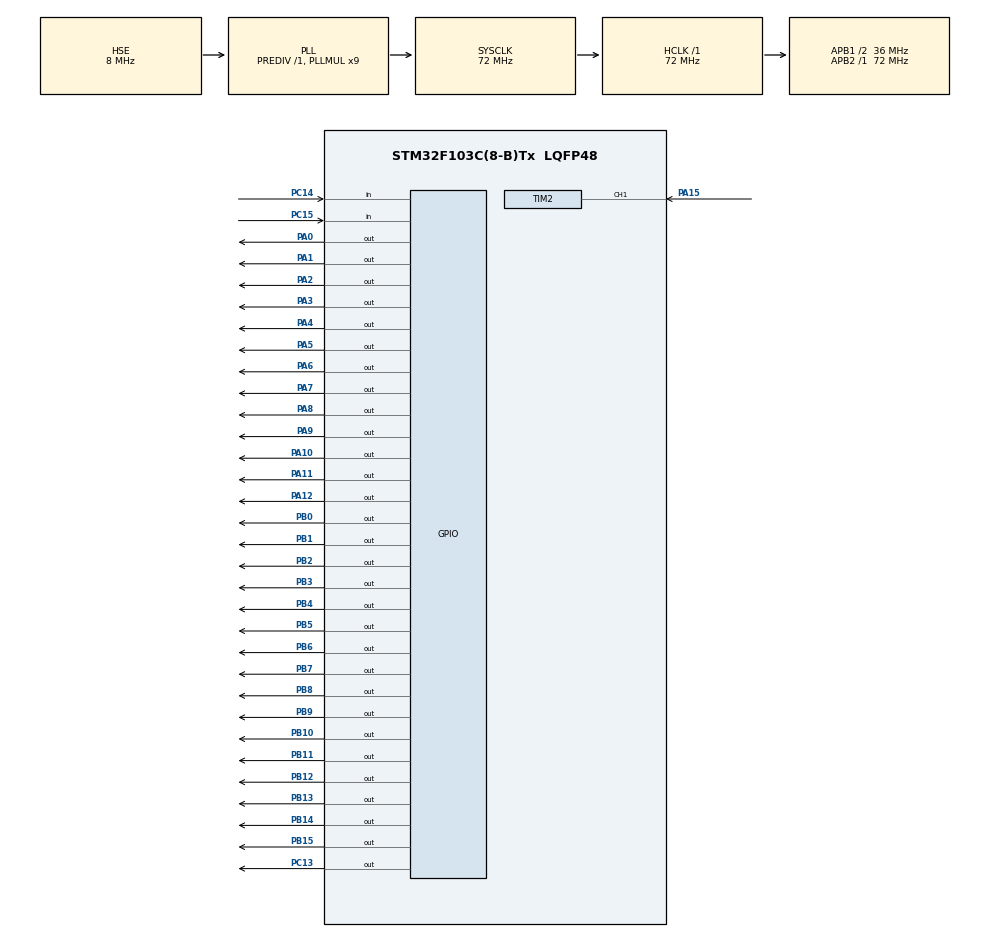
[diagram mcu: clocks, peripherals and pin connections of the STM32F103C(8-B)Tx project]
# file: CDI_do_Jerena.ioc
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Mcu.Family=STM32F1
Mcu.Name=STM32F103C(8-B)Tx
Mcu.Package=LQFP48
NVIC.FLASH_IRQn=true\:0\:0\:false\:false\:true\:true\:true
NVIC.PVD_IRQn=true\:0\:0\:false\:false\:true\:true\:true
NVIC.PriorityGroup=NVIC_PRIORITYGROUP_3
NVIC.RCC_IRQn=true\:0\:0\:false\:false\:true\:true\:false
NVIC.TIM2_IRQn=true\:0\:0\:true\:false\:true\:true\:true
NVIC.TIM4_IRQn=true\:1\:0\:true\:false\:true\:true\:true
PA0-WKUP.Signal=GPIO_Output
PA1.Signal=GPIO_Output
PA10.Signal=GPIO_Output
PA11.Signal=GPIO_Output
PA12.Signal=GPIO_Output
PA13.Mode=Serial_Wire
PA13.Signal=SYS_JTMS-SWDIO
PA14.Mode=Serial_Wire
PA14.Signal=SYS_JTCK-SWCLK
PA15.GPIO_PuPd=GPIO_NOPULL
PA15.Signal=S_TIM2_CH1_ETR
PA2.GPIO_Speed=GPIO_SPEED_FREQ_HIGH
PA2.Signal=GPIO_Output
PA3.Signal=GPIO_Output
PA4.Signal=GPIO_Output
PA5.Signal=GPIO_Output
PA6.GPIO_Speed=GPIO_SPEED_FREQ_HIGH
PA6.Signal=GPIO_Output
PA7.Signal=GPIO_Output
PA8.Signal=GPIO_Output
PA9.Signal=GPIO_Output
PB0.GPIO_Speed=GPIO_SPEED_FREQ_HIGH
PB0.Signal=GPIO_Output
PB1.GPIO_ModeDefaultOutputPP=GPIO_MODE_OUTPUT_PP
PB1.GPIO_PuPd=GPIO_NOPULL
PB1.GPIO_Speed=GPIO_SPEED_FREQ_HIGH
PB1.Signal=GPIO_Output
PB10.Signal=GPIO_Output
PB11.Signal=GPIO_Output
PB12.Signal=GPIO_Output
PB13.Signal=GPIO_Output
PB14.Signal=GPIO_Output
PB15.Signal=GPIO_Output
PB2.Signal=GPIO_Output
PB3.Signal=GPIO_Output
PB4.Signal=GPIO_Output
PB5.Signal=GPIO_Output
PB6.Signal=GPIO_Output
PB7.Signal=GPIO_Output
PB8.Signal=GPIO_Output
PB9.Signal=GPIO_Output
PC13-TAMPER-RTC.GPIO_ModeDefaultOutputPP=GPIO_MODE_OUTPUT_PP
PC13-TAMPER-RTC.GPIO_PuPd=GPIO_NOPULL
PC13-TAMPER-RTC.GPIO_Speed=GPIO_SPEED_FREQ_HIGH
PC13-TAMPER-RTC.PinState=GPIO_PIN_RESET
PC13-TAMPER-RTC.Signal=GPIO_Output
PC14-OSC32_IN.Signal=GPIO_Input
PC15-OSC32_OUT.Signal=GPIO_Input
PD0-OSC_IN.Mode=HSE-External-Oscillator
PD0-OSC_IN.Signal=RCC_OSC_IN
PD1-OSC_OUT.Mode=HSE-External-Oscillator
PD1-OSC_OUT.Signal=RCC_OSC_OUT
ProjectManager.HeapSize=0x200
ProjectManager.StackSize=0x400
ProjectManager.TargetToolchain=MDK-ARM V5.27
RCC.ADCPresc=RCC_ADCPCLK2_DIV6
RCC.AHBFreq_Value=72000000
RCC.APB1CLKDivider=RCC_HCLK_DIV2
RCC.APB1Freq_Value=36000000
RCC.APB1TimFreq_Value=72000000
RCC.APB2Freq_Value=72000000
RCC.APB2TimFreq_Value=72000000
RCC.HCLKFreq_Value=72000000
RCC.PLLMUL=RCC_PLL_MUL9
RCC.PLLSourceVirtual=RCC_PLLSOURCE_HSE
RCC.SYSCLKFreq_VALUE=72000000
RCC.SYSCLKSource=RCC_SYSCLKSOURCE_PLLCLK
RCC.USBFreq_Value=72000000
SH.S_TIM2_CH1_ETR.0=TIM2_CH1,Input_Capture1_from_TI1
SH.S_TIM2_CH1_ETR.1=TIM2_CH1,Input_Capture2_from_TI1
TIM2.AutoReloadPreload=TIM_AUTORELOAD_PRELOAD_DISABLE
TIM2.Channel-Input_Capture1_from_TI1=TIM_CHANNEL_1
TIM2.Channel-Input_Capture2_from_TI1=TIM_CHANNEL_2
TIM2.Channel-Output\ Compare3\ No\ Output=TIM_CHANNEL_3
TIM2.Channel-Output\ Compare4\ No\ Output=TIM_CHANNEL_4
TIM2.ClockDivision=TIM_CLOCKDIVISION_DIV1
TIM2.CounterMode=TIM_COUNTERMODE_UP
TIM2.ICFilter_CH1=3
TIM2.ICPolarity_CH2=TIM_INPUTCHANNELPOLARITY_FALLING
TIM2.OC3Preload=DISABLE
TIM2.OCMode_3=TIM_OCMODE_ACTIVE
TIM2.OCMode_4=TIM_OCMODE_ACTIVE
TIM2.OCPolarity_3=TIM_OCPOLARITY_LOW
TIM2.OCPolarity_4=TIM_OCPOLARITY_LOW
TIM2.Period=65535
TIM2.Prescaler=55
TIM2.TIM_MasterOutputTrigger=TIM_TRGO_RESET
TIM4.Channel-Output\ Compare1\ No\ Output=TIM_CHANNEL_1
TIM4.Channel-Output\ Compare2\ No\ Output=TIM_CHANNEL_2
TIM4.OCMode_1=TIM_OCMODE_ACTIVE
TIM4.OCMode_2=TIM_OCMODE_ACTIVE
TIM4.OCPolarity_1=TIM_OCPOLARITY_LOW
TIM4.OCPolarity_2=TIM_OCPOLARITY_LOW
TIM4.Period=65535
TIM4.Prescaler=55
VP_TIM2_VS_ClockSourceINT.Mode=Internal
VP_TIM2_VS_no_output3.Mode=Output Compare3 No Output
VP_TIM2_VS_no_output4.Mode=Output Compare4 No Output
VP_TIM4_VS_ClockSourceINT.Mode=Internal
VP_TIM4_VS_no_output1.Mode=Output Compare1 No Output
VP_TIM4_VS_no_output2.Mode=Output Compare2 No Output
board=custom

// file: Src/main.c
/* USER CODE BEGIN Header */
/**
  ******************************************************************************
  * @file           : main.c
  * @brief          : Main program body
  ******************************************************************************
  * @attention
  *
  * <h2><center>&copy; Copyright (c) 2020 STMicroelectronics.
  * All rights reserved.</center></h2>
  *
  * This software component is licensed by ST under BSD 3-Clause license,
  * the "License"; You may not use this file except in compliance with the
  * License. You may obtain a copy of the License at:
  *                        opensource.org/licenses/BSD-3-Clause
  *
  ******************************************************************************
  */
/* USER CODE END Header */

#include "main.h"

TIM_HandleTypeDef htim2;
TIM_HandleTypeDef htim4;

/* USER CODE BEGIN PV */
//Sw defines
#define nSteps                        64u
#define TDuty_Trigger_const         1309u     //1.0ms for clock 72MHz
#define TDutyTriggerK               1319u     //10 + 1319
#define TIntervPulseInv             1964u     //1.0ms + 0.5ms
#define TPulseInv                   6460u     //3,5ms measured...
#define TMR2_16bits                65536u
#define RPM_const               78545455u
#define FALSE                          0u
#define TRUE                           1u
#define Delta_RPM                    100u

//Global variable
enum Interruption_type {INT_FROM_CH1, INT_FROM_CH2, INT_FROM_CH3, INT_FROM_CH4} int_types;
enum Output_Level {OFF, ON} level;
enum Event_status {EMPTY, PROGRAMMED, DONE} status;
enum Engine_States {STOPPED, CRANKING, ACCELERATION, STEADY_STATE, DECELERATION, OVERSPEED} engstates;

/*
2 different speed
Low  <  1200  // fixed advance ignition
High >= 1200  // according igntion map

Engine Speed: Stopped, Acceleration, Steady State, Decelerate

Engine > Cut_Ignition threshould -> Cut ignition complete in Overspeed
*/

//Calibration values
typedef struct Calibration
{
	uint16_t Max_Engine_Speed;
  uint16_t BP_Engine_Speed[12];
  uint8_t  BP_Timing_Advance[12];
}struct_Calibration;

volatile struct_Calibration Calibration_RAM = {15000,
	                                            ////The first Engine Speed value in the array needs to be 1200 mandatory
                                              {1200, 2000, 3000, 3500, 4500, 5000, 6000, 7000, 8000, 9000, 12000, 15000},
																							//{  64,   64,   64,   64,   64,   64,   64,   64,   64,   64,    64,    64}};
																							//{  48,   48,   48,   48,   48,   48,   48,   48,   48,   48,    48,    48}};
                                              {  32,   32,   32,   32,   32,   32,   32,   32,   32,   32,    32,    32}};
                                              //{  16,   16,   16,   16,   16,   16,   16,   16,   16,   16,    16,    16}};
																							//{   0,    0,    0,    0,    0,    0,    0,    0,    0,    0,     0,     0}};
																							//{  64,   54,   44,   39,   36,   32,   32,   36,   40,   45,     55,     64}};
																							//64 -> 18 degree, calib_table = 64-ang_obj+18 <-> ang_obj = 64-calib_table+18
typedef struct system_info
{
	uint8_t  Low_speed_detected;
	uint8_t  Cutoff_IGN;
	uint8_t  Update_calc;
  uint32_t nOverflow;
  uint32_t Rising_Edge_Counter;
	uint32_t Measured_Period;
	uint8_t  nOverflow_RE;
	uint8_t  nOverflow_FE;
	uint16_t Engine_Speed_old;
	uint16_t Engine_Speed;
	uint32_t Predicted_Period;
	uint32_t TDuty_Input_Signal;
  uint32_t TStep;
	uint8_t  nAdv;
}system_vars;

volatile system_vars scenario = {0,0,0,0,0,0,0,0,0,0,0,0,0,0};

typedef struct timerproperty
{
	uint32_t counter;
	uint8_t  timer_program;
}timer_status;

timer_status request[4] = {{0,0},
                           {0,0},
                           {0,0},
                           {0,0}};

timer_status Pulse_Program[4] = {{0,0},
                                 {0,0},
                                 {0,0},
                                 {0,0}};

typedef struct Scheduler
{
	uint8_t  program;
	uint32_t target_time;
}sched_var;

sched_var array_sched_var[3];

/* USER CODE END PV */

void SystemClock_Config(void);
static void MX_GPIO_Init(void);
static void MX_TIM2_Init(void);
static void MX_TIM4_Init(void);
/* USER CODE BEGIN PFP */

/*
void System_Configuration(void)
{
  htim4.Init.Prescaler = 1;
	htim4.Init.Period = 1440;    // 25Hz
	//htim4.Init.Period = 65535;    // 550Hz  -> Audible noise...
	sConfigOC.Pulse = 600;    //Limited to 700 (Can damage the inversor)
}
*/

void Turn_OFF_Int_input(void)
{
  HAL_TIM_IC_Stop_IT(&htim2, TIM_CHANNEL_1);
	HAL_TIM_IC_Stop_IT(&htim2, TIM_CHANNEL_2);
}

void Turn_ON_Int_input(void)
{
  HAL_TIM_IC_Start_IT(&htim2, TIM_CHANNEL_1);
	HAL_TIM_IC_Start_IT(&htim2, TIM_CHANNEL_2);
}

void Set_Ouput_LED(void)
{
	HAL_GPIO_TogglePin(GPIOC,GPIO_PIN_13);
}

void Set_Ouput_Trigger(uint8_t Value)
{
	if (Value == TRUE)
	{
		HAL_GPIO_WritePin(GPIOA,GPIO_PIN_2,GPIO_PIN_SET);
	}
	else
	{
		HAL_GPIO_WritePin(GPIOA,GPIO_PIN_2,GPIO_PIN_RESET);
	}
}

void Set_Ouput_InterruptionTest(void)
{
	HAL_GPIO_TogglePin(GPIOA,GPIO_PIN_6);
}

void Set_Ouput_Inversor(uint8_t Value)
{
	if (Value == TRUE)
	{
		HAL_GPIO_WritePin(GPIOB,GPIO_PIN_6,GPIO_PIN_SET);
	}
	else
	{
		HAL_GPIO_WritePin(GPIOB,GPIO_PIN_6,GPIO_PIN_RESET);
	}
}

// A iterative binary search function. It returns
// location of x in given array arr[l..r] if present,
// otherwise -1
int8_t binarySearch(uint16_t arr[], uint8_t l, uint8_t r, uint16_t x)
{
		uint8_t m;

    while (l <= r)
		{
        m = l + (r - l) / 2;
			  //m = (l + r) / 2;

			  // Check if x is present at mid
        if ((x >= arr[m]) && (x <= arr[m+1]))
            return m;

        // If x greater, ignore left half
        if (arr[m] < x)
            l = m + 1;

        // If x is smaller, ignore right half
        else
            r = m - 1;
    }

    // if we reach here, then element was
    // not present
    return -1;
}

//uint8_t Adv_Calibrated(uint16_t value, uint16_t x_array[], uint8_t y_array[])
uint8_t Linear_Interpolation(uint16_t value, uint16_t x_array[], uint8_t y_array[])
{
  int8_t interp_index;
	uint8_t interp_res;

	interp_index = binarySearch(x_array, 0, 11, value);

  if(interp_index != -1)
  {
    interp_res = (((y_array[interp_index+1]-y_array[interp_index])*(value-x_array[interp_index]))/(x_array[interp_index+1]-x_array[interp_index]))+y_array[interp_index];
    return(interp_res);
	}
  else
  {
    //Advance saturation for array min and max
    if(value<x_array[0])
    {
      return(y_array[0]);
    }
    else if(value>x_array[11])
    {
      return(y_array[11]);
    }
		else
		{
			return(0xFF);     //return an error value...
		}
  }
}

void Cut_Igntion(void)
{
	if(scenario.Engine_Speed>Calibration_RAM.Max_Engine_Speed)
	{
		scenario.Cutoff_IGN = 1;
	}
	else
	{
		scenario.Cutoff_IGN = 0;
	}
}

void Engine_STOP_test(void)
{
  static uint8_t program;
  static uint32_t initial_value;

  if(program == 0)
  {
    initial_value = scenario.Rising_Edge_Counter;
    program = 1;
  }
  else
  {
    if(scenario.Rising_Edge_Counter == initial_value)
    {
      scenario.Rising_Edge_Counter = 0;
      scenario.Engine_Speed = 0;
      program = 0;
    }
  }
}

void Timeout(uint32_t period, void (*func)(void), sched_var var[], uint8_t pos, uint8_t *resp_var)
{
  uint32_t counter;

  counter = HAL_GetTick();

  if(var[pos].program == 0)
  {
    var[pos].target_time = counter+period;
    var[pos].program = 1;
  }

  if(counter>=var[pos].target_time)
  {
    var[pos].program = 0;
    *resp_var = TRUE;
  }
  else
  {
    *resp_var = FALSE;
  }
}

void Task_Fast(void)
{
	//HAL_IWDG_Init(&hiwdg);
}

void Task_Medium(void)
{
	Set_Ouput_LED();
	Cut_Igntion();
}

void Task_Slow(void)
{
  Engine_STOP_test();
}

void Periodic_task(uint32_t period, void (*func)(void), sched_var var[], uint8_t pos)
{
  volatile uint32_t counter;

	counter = HAL_GetTick();

  if(var[pos].program == 0)
  {
    var[pos].target_time = counter+period;
    var[pos].program = 1;
  }

  if(counter>=var[pos].target_time)
  {
    var[pos].program = 0;
    (*func)();
  }
}

uint32_t Prediction_Calc(void)
{
  static uint32_t avarage_period;

  avarage_period = (avarage_period+scenario.Measured_Period)/2;
  return(avarage_period);

//	errt = dt3[ICint] - dtpred;
//  ....
//  // alpha-beta-gamma filter prediction
//  dts = dtpred + ((inpram.alpha * errt) / 100);
//  tddts = tddtpred + ((inpram.beta * errt) / 100);
//  t2dddts = t2dddts + ((inpram.gamma * errt) / 100);
//  dtpred = dts + tddts + (t2dddts >> 1);
//  tddtpred = tddts + t2dddts;
}

uint8_t Ignition_nTime(uint16_t eng_speed)
{
	static uint8_t advance;

	advance = Linear_Interpolation(eng_speed, Calibration_RAM.BP_Engine_Speed, Calibration_RAM.BP_Timing_Advance);

  return(advance);
}

void Set_Pulse_Program(void)
{
	static uint32_t Event1, Event2;

	scenario.Measured_Period += scenario.nOverflow_RE*TMR2_16bits;
  scenario.Engine_Speed = RPM_const/scenario.Measured_Period;

	if(scenario.nOverflow_RE == 0)
	{
		scenario.Low_speed_detected = 0;
		scenario.Predicted_Period = Prediction_Calc();
		scenario.TDuty_Input_Signal += scenario.nOverflow_FE*TMR2_16bits;
		scenario.TStep = scenario.TDuty_Input_Signal/nSteps;
		scenario.nAdv = Ignition_nTime(scenario.Engine_Speed);
		Event1 = scenario.TStep*scenario.nAdv;
		Event2 = Event1+TDuty_Trigger_const;

		//Event 1 - Generates Rising Edge for trigger signal using TMR2 to generate the event
		request[0].counter = Event1%65536;

		//Event 2 - Generates Falling Edge for trigger signal using TMR2 to generate the event
		request[1].counter = Event2%65536;
	}
	else
	{
		scenario.Low_speed_detected = 1;
	}

	Pulse_Program[0].timer_program = EMPTY;
	Pulse_Program[1].timer_program = EMPTY;
	Pulse_Program[2].timer_program = EMPTY;
	Pulse_Program[3].timer_program = EMPTY;
}

/* USER CODE END PFP */

int main(void)
{

  /* MCU Configuration--------------------------------------------------------*/

  /* Reset of all peripherals, Initializes the Flash interface and the Systick. */
  HAL_Init();

  /* Configure the system clock */
  SystemClock_Config();

  /* Initialize all configured peripherals */
  MX_GPIO_Init();
  MX_TIM2_Init();
  MX_TIM4_Init();
  /* USER CODE BEGIN 2 */

	//I don´t know the difference between these two different statment
	//HAL_TIM_Base_Start_IT(&htim2);
	__HAL_TIM_ENABLE_IT(&htim2, TIM_IT_UPDATE);
	HAL_TIM_IC_Start_IT(&htim2, TIM_CHANNEL_1);
	HAL_TIM_IC_Start_IT(&htim2, TIM_CHANNEL_2);

	//HAL_TIM_Base_Start_IT(&htim4);

	//Maybe I don´t need initiate the timers...

	//HAL_TIM_Base_Start_IT(&htim4);
	/* Enable the TIM Capture/Compare 1 interrupt */
  //__HAL_TIM_ENABLE_IT(htim, TIM_IT_CC1);
  /* USER CODE END 2 */

  /* Infinite loop */
  /* USER CODE BEGIN WHILE */
  while (TRUE)
  {
    //Update the pulse calc scenario
		if (scenario.Update_calc == 1)
	  {
			Set_Pulse_Program();

//			if (scenario.Engine_Speed>(scenario.Engine_Speed_old+Delta_RPM))
//			{
//				HAL_GPIO_WritePin(GPIOC,GPIO_PIN_13,GPIO_PIN_RESET);
//			}
//      else
//      {
//				HAL_GPIO_WritePin(GPIOC,GPIO_PIN_13,GPIO_PIN_SET);
//			}

			scenario.Engine_Speed_old = scenario.Engine_Speed;
		  scenario.Update_calc = 0;
	  }

    //Scheduler
		Periodic_task(  20,&Task_Fast,   array_sched_var, 0);
		Periodic_task( 100,&Task_Medium, array_sched_var, 1);
		Periodic_task(1000,&Task_Slow,   array_sched_var, 2);

    /* USER CODE END WHILE */

  }
}

void SystemClock_Config(void)
{
  RCC_OscInitTypeDef RCC_OscInitStruct = {0};
  RCC_ClkInitTypeDef RCC_ClkInitStruct = {0};

  /** Initializes the CPU, AHB and APB busses clocks
  */
  RCC_OscInitStruct.OscillatorType = RCC_OSCILLATORTYPE_HSE;
  RCC_OscInitStruct.HSEState = RCC_HSE_ON;
  RCC_OscInitStruct.HSEPredivValue = RCC_HSE_PREDIV_DIV1;
  RCC_OscInitStruct.HSIState = RCC_HSI_ON;
  RCC_OscInitStruct.PLL.PLLState = RCC_PLL_ON;
  RCC_OscInitStruct.PLL.PLLSource = RCC_PLLSOURCE_HSE;
  RCC_OscInitStruct.PLL.PLLMUL = RCC_PLL_MUL9;
  if (HAL_RCC_OscConfig(&RCC_OscInitStruct) != HAL_OK)
  {
    Error_Handler();
  }
  /** Initializes the CPU, AHB and APB busses clocks
  */
  RCC_ClkInitStruct.ClockType = RCC_CLOCKTYPE_HCLK|RCC_CLOCKTYPE_SYSCLK
                              |RCC_CLOCKTYPE_PCLK1|RCC_CLOCKTYPE_PCLK2;
  RCC_ClkInitStruct.SYSCLKSource = RCC_SYSCLKSOURCE_PLLCLK;
  RCC_ClkInitStruct.AHBCLKDivider = RCC_SYSCLK_DIV1;
  RCC_ClkInitStruct.APB1CLKDivider = RCC_HCLK_DIV2;
  RCC_ClkInitStruct.APB2CLKDivider = RCC_HCLK_DIV1;

  if (HAL_RCC_ClockConfig(&RCC_ClkInitStruct, FLASH_LATENCY_2) != HAL_OK)
  {
    Error_Handler();
  }
}

static void MX_TIM2_Init(void)
{

  TIM_ClockConfigTypeDef sClockSourceConfig = {0};
  TIM_MasterConfigTypeDef sMasterConfig = {0};
  TIM_IC_InitTypeDef sConfigIC = {0};
  TIM_OC_InitTypeDef sConfigOC = {0};

  htim2.Instance = TIM2;
  htim2.Init.Prescaler = 55;
  htim2.Init.CounterMode = TIM_COUNTERMODE_UP;
  htim2.Init.Period = 65535;
  htim2.Init.ClockDivision = TIM_CLOCKDIVISION_DIV1;
  htim2.Init.AutoReloadPreload = TIM_AUTORELOAD_PRELOAD_DISABLE;
  if (HAL_TIM_Base_Init(&htim2) != HAL_OK)
  {
    Error_Handler();
  }
  sClockSourceConfig.ClockSource = TIM_CLOCKSOURCE_INTERNAL;
  if (HAL_TIM_ConfigClockSource(&htim2, &sClockSourceConfig) != HAL_OK)
  {
    Error_Handler();
  }
  if (HAL_TIM_IC_Init(&htim2) != HAL_OK)
  {
    Error_Handler();
  }
  if (HAL_TIM_OC_Init(&htim2) != HAL_OK)
  {
    Error_Handler();
  }
  sMasterConfig.MasterOutputTrigger = TIM_TRGO_RESET;
  sMasterConfig.MasterSlaveMode = TIM_MASTERSLAVEMODE_DISABLE;
  if (HAL_TIMEx_MasterConfigSynchronization(&htim2, &sMasterConfig) != HAL_OK)
  {
    Error_Handler();
  }
  sConfigIC.ICPolarity = TIM_INPUTCHANNELPOLARITY_RISING;
  sConfigIC.ICSelection = TIM_ICSELECTION_DIRECTTI;
  sConfigIC.ICPrescaler = TIM_ICPSC_DIV1;
  sConfigIC.ICFilter = 3;
  if (HAL_TIM_IC_ConfigChannel(&htim2, &sConfigIC, TIM_CHANNEL_1) != HAL_OK)
  {
    Error_Handler();
  }
  sConfigIC.ICPolarity = TIM_INPUTCHANNELPOLARITY_FALLING;
  sConfigIC.ICSelection = TIM_ICSELECTION_INDIRECTTI;
  sConfigIC.ICFilter = 0;
  if (HAL_TIM_IC_ConfigChannel(&htim2, &sConfigIC, TIM_CHANNEL_2) != HAL_OK)
  {
    Error_Handler();
  }
  sConfigOC.OCMode = TIM_OCMODE_ACTIVE;
  sConfigOC.Pulse = 0;
  sConfigOC.OCPolarity = TIM_OCPOLARITY_LOW;
  sConfigOC.OCFastMode = TIM_OCFAST_DISABLE;
  if (HAL_TIM_OC_ConfigChannel(&htim2, &sConfigOC, TIM_CHANNEL_3) != HAL_OK)
  {
    Error_Handler();
  }
  if (HAL_TIM_OC_ConfigChannel(&htim2, &sConfigOC, TIM_CHANNEL_4) != HAL_OK)
  {
    Error_Handler();
  }

}

static void MX_TIM4_Init(void)
{

  TIM_ClockConfigTypeDef sClockSourceConfig = {0};
  TIM_MasterConfigTypeDef sMasterConfig = {0};
  TIM_OC_InitTypeDef sConfigOC = {0};

  htim4.Instance = TIM4;
  htim4.Init.Prescaler = 55;
  htim4.Init.CounterMode = TIM_COUNTERMODE_UP;
  htim4.Init.Period = 65535;
  htim4.Init.ClockDivision = TIM_CLOCKDIVISION_DIV1;
  htim4.Init.AutoReloadPreload = TIM_AUTORELOAD_PRELOAD_DISABLE;
  if (HAL_TIM_Base_Init(&htim4) != HAL_OK)
  {
    Error_Handler();
  }
  sClockSourceConfig.ClockSource = TIM_CLOCKSOURCE_INTERNAL;
  if (HAL_TIM_ConfigClockSource(&htim4, &sClockSourceConfig) != HAL_OK)
  {
    Error_Handler();
  }
  if (HAL_TIM_OC_Init(&htim4) != HAL_OK)
  {
    Error_Handler();
  }
  sMasterConfig.MasterOutputTrigger = TIM_TRGO_RESET;
  sMasterConfig.MasterSlaveMode = TIM_MASTERSLAVEMODE_DISABLE;
  if (HAL_TIMEx_MasterConfigSynchronization(&htim4, &sMasterConfig) != HAL_OK)
  {
    Error_Handler();
  }
  sConfigOC.OCMode = TIM_OCMODE_ACTIVE;
  sConfigOC.Pulse = 0;
  sConfigOC.OCPolarity = TIM_OCPOLARITY_LOW;
  sConfigOC.OCFastMode = TIM_OCFAST_DISABLE;
  if (HAL_TIM_OC_ConfigChannel(&htim4, &sConfigOC, TIM_CHANNEL_1) != HAL_OK)
  {
    Error_Handler();
  }
  if (HAL_TIM_OC_ConfigChannel(&htim4, &sConfigOC, TIM_CHANNEL_2) != HAL_OK)
  {
    Error_Handler();
  }

}

static void MX_GPIO_Init(void)
{
  GPIO_InitTypeDef GPIO_InitStruct = {0};

  /* GPIO Ports Clock Enable */
  __HAL_RCC_GPIOC_CLK_ENABLE();
  __HAL_RCC_GPIOD_CLK_ENABLE();
  __HAL_RCC_GPIOA_CLK_ENABLE();
  __HAL_RCC_GPIOB_CLK_ENABLE();

  /*Configure GPIO pin Output Level */
  HAL_GPIO_WritePin(GPIOC, GPIO_PIN_13, GPIO_PIN_RESET);

  /*Configure GPIO pin Output Level */
  HAL_GPIO_WritePin(GPIOA, GPIO_PIN_0|GPIO_PIN_1|GPIO_PIN_2|GPIO_PIN_3
                          |GPIO_PIN_4|GPIO_PIN_5|GPIO_PIN_6|GPIO_PIN_7
                          |GPIO_PIN_8|GPIO_PIN_9|GPIO_PIN_10|GPIO_PIN_11
                          |GPIO_PIN_12, GPIO_PIN_RESET);

  /*Configure GPIO pin Output Level */
  HAL_GPIO_WritePin(GPIOB, GPIO_PIN_0|GPIO_PIN_1|GPIO_PIN_2|GPIO_PIN_10
                          |GPIO_PIN_11|GPIO_PIN_12|GPIO_PIN_13|GPIO_PIN_14
                          |GPIO_PIN_15|GPIO_PIN_3|GPIO_PIN_4|GPIO_PIN_5
                          |GPIO_PIN_6|GPIO_PIN_7|GPIO_PIN_8|GPIO_PIN_9, GPIO_PIN_RESET);

  /*Configure GPIO pin : PC13 */
  GPIO_InitStruct.Pin = GPIO_PIN_13;
  GPIO_InitStruct.Mode = GPIO_MODE_OUTPUT_PP;
  GPIO_InitStruct.Pull = GPIO_NOPULL;
  GPIO_InitStruct.Speed = GPIO_SPEED_FREQ_HIGH;
  HAL_GPIO_Init(GPIOC, &GPIO_InitStruct);

  /*Configure GPIO pins : PC14 PC15 */
  GPIO_InitStruct.Pin = GPIO_PIN_14|GPIO_PIN_15;
  GPIO_InitStruct.Mode = GPIO_MODE_INPUT;
  GPIO_InitStruct.Pull = GPIO_NOPULL;
  HAL_GPIO_Init(GPIOC, &GPIO_InitStruct);

  /*Configure GPIO pins : PA0 PA1 PA3 PA4
                           PA5 PA7 PA8 PA9
                           PA10 PA11 PA12 */
  GPIO_InitStruct.Pin = GPIO_PIN_0|GPIO_PIN_1|GPIO_PIN_3|GPIO_PIN_4
                          |GPIO_PIN_5|GPIO_PIN_7|GPIO_PIN_8|GPIO_PIN_9
                          |GPIO_PIN_10|GPIO_PIN_11|GPIO_PIN_12;
  GPIO_InitStruct.Mode = GPIO_MODE_OUTPUT_PP;
  GPIO_InitStruct.Pull = GPIO_NOPULL;
  GPIO_InitStruct.Speed = GPIO_SPEED_FREQ_LOW;
  HAL_GPIO_Init(GPIOA, &GPIO_InitStruct);

  /*Configure GPIO pins : PA2 PA6 */
  GPIO_InitStruct.Pin = GPIO_PIN_2|GPIO_PIN_6;
  GPIO_InitStruct.Mode = GPIO_MODE_OUTPUT_PP;
  GPIO_InitStruct.Pull = GPIO_NOPULL;
  GPIO_InitStruct.Speed = GPIO_SPEED_FREQ_HIGH;
  HAL_GPIO_Init(GPIOA, &GPIO_InitStruct);

  /*Configure GPIO pins : PB0 PB1 */
  GPIO_InitStruct.Pin = GPIO_PIN_0|GPIO_PIN_1;
  GPIO_InitStruct.Mode = GPIO_MODE_OUTPUT_PP;
  GPIO_InitStruct.Pull = GPIO_NOPULL;
  GPIO_InitStruct.Speed = GPIO_SPEED_FREQ_HIGH;
  HAL_GPIO_Init(GPIOB, &GPIO_InitStruct);

  /*Configure GPIO pins : PB2 PB10 PB11 PB12
                           PB13 PB14 PB15 PB3
                           PB4 PB5 PB6 PB7
                           PB8 PB9 */
  GPIO_InitStruct.Pin = GPIO_PIN_2|GPIO_PIN_10|GPIO_PIN_11|GPIO_PIN_12
                          |GPIO_PIN_13|GPIO_PIN_14|GPIO_PIN_15|GPIO_PIN_3
                          |GPIO_PIN_4|GPIO_PIN_5|GPIO_PIN_6|GPIO_PIN_7
                          |GPIO_PIN_8|GPIO_PIN_9;
  GPIO_InitStruct.Mode = GPIO_MODE_OUTPUT_PP;
  GPIO_InitStruct.Pull = GPIO_NOPULL;
  GPIO_InitStruct.Speed = GPIO_SPEED_FREQ_LOW;
  HAL_GPIO_Init(GPIOB, &GPIO_InitStruct);

}

/* USER CODE BEGIN 4 */

void Program_Trigger_Pulse(void)
{
	Pulse_Program[0].counter = request[0].counter;
	__HAL_TIM_SET_COMPARE(&htim2,TIM_CHANNEL_3,Pulse_Program[0].counter);
	Pulse_Program[0].timer_program = PROGRAMMED;

	Pulse_Program[1].counter = request[1].counter;
	__HAL_TIM_SET_COMPARE(&htim2,TIM_CHANNEL_4,Pulse_Program[1].counter);
  Pulse_Program[1].timer_program = PROGRAMMED;

	HAL_TIM_OC_Start_IT(&htim2,TIM_CHANNEL_3);
	HAL_TIM_OC_Start_IT(&htim2,TIM_CHANNEL_4);
}

void Program_Inverter_Pulse(void)
{
	__HAL_TIM_SET_COMPARE(&htim4,TIM_CHANNEL_1,TIntervPulseInv);
	Pulse_Program[2].timer_program = PROGRAMMED;

	__HAL_TIM_SET_COMPARE(&htim4,TIM_CHANNEL_2,TPulseInv);
  Pulse_Program[3].timer_program = PROGRAMMED;

	__HAL_TIM_SET_COUNTER(&htim4,0u);
	HAL_TIM_OC_Start_IT(&htim4,TIM_CHANNEL_1);
	HAL_TIM_OC_Start_IT(&htim4,TIM_CHANNEL_2);
}

void HAL_TIM_PeriodElapsedCallback(TIM_HandleTypeDef *htim)
{
  if(htim->Instance == TIM2)
	{
		scenario.nOverflow++;
	}
}

void Rising_Edge_Event(void)
{
	scenario.Measured_Period = HAL_TIM_ReadCapturedValue(&htim2,TIM_CHANNEL_1);
	scenario.nOverflow_RE = scenario.nOverflow;
	__HAL_TIM_SET_COUNTER(&htim2,0u);
	scenario.nOverflow = 0;
	Set_Ouput_Trigger(OFF);
	Set_Ouput_Inversor(OFF);
	scenario.Rising_Edge_Counter++;

	if((scenario.Low_speed_detected == 0)&&
		 (scenario.Cutoff_IGN == 0))
	{
		Program_Trigger_Pulse();
	}
	else
	{
		HAL_TIM_OC_Stop_IT(&htim2,TIM_CHANNEL_3);
		HAL_TIM_OC_Stop_IT(&htim2,TIM_CHANNEL_4);
  }
}

void Falling_Edge_Event(void)
{
	uint16_t counter;

	scenario.TDuty_Input_Signal = HAL_TIM_ReadCapturedValue(&htim2,TIM_CHANNEL_2);
	scenario.nOverflow_FE = scenario.nOverflow;

	if(scenario.Low_speed_detected == 1)
	{
		Set_Ouput_Trigger(ON);
		Program_Inverter_Pulse();
		counter = __HAL_TIM_GET_COUNTER(&htim2);
		counter += TDutyTriggerK;
		__HAL_TIM_SET_COMPARE(&htim2,TIM_CHANNEL_4,counter);
	  HAL_TIM_OC_Start_IT(&htim2,TIM_CHANNEL_4);
	}

	if (scenario.Rising_Edge_Counter>=2)
	{
		scenario.Update_calc = 1;        //set zero after Engine Stop was detected
	}
}

void HAL_TIM_IC_CaptureCallback(TIM_HandleTypeDef *htim)
{
	if((htim->Instance == TIM2)&&
	   (htim->Channel == HAL_TIM_ACTIVE_CHANNEL_1))
	{
		Rising_Edge_Event();
	}

  if((htim->Instance == TIM2)&&
	   (htim->Channel == HAL_TIM_ACTIVE_CHANNEL_2))
	{
		Falling_Edge_Event();
	}
}

void Treat_Int(uint8_t program)
{
  switch(program)
	{
		case INT_FROM_CH1: Set_Ouput_Inversor(ON);
		                   Pulse_Program[2].timer_program = DONE;
		                   break;

		case INT_FROM_CH2: Set_Ouput_Inversor(OFF);
		                   Pulse_Program[3].timer_program = DONE;
		                   HAL_TIM_OC_Stop_IT(&htim4,TIM_CHANNEL_1);
		                   HAL_TIM_OC_Stop_IT(&htim4,TIM_CHANNEL_2);
		                   break;

		case INT_FROM_CH3: Set_Ouput_Trigger(ON);
		                   Pulse_Program[0].timer_program = DONE;
		                   Program_Inverter_Pulse();
		                   break;

		case INT_FROM_CH4: Set_Ouput_Trigger(OFF);
                       Pulse_Program[1].timer_program = DONE;
                       break;

		default:           break;
	}
}

void HAL_TIM_OC_DelayElapsedCallback(TIM_HandleTypeDef *htim)
{
	if((htim->Instance == TIM2)&&
	   (htim->Channel == HAL_TIM_ACTIVE_CHANNEL_3)&&
	   (scenario.nOverflow == 0))
	{
			Treat_Int(INT_FROM_CH3);
  }

  if((htim->Instance == TIM2)&&
	   (htim->Channel == HAL_TIM_ACTIVE_CHANNEL_4)&&
	   (scenario.nOverflow == 0))
	{
			Treat_Int(INT_FROM_CH4);
  }

	if((htim->Instance == TIM4)&&
	   (htim->Channel == HAL_TIM_ACTIVE_CHANNEL_1))
	{
    Treat_Int(INT_FROM_CH1);
  }

	if((htim->Instance == TIM4)&&
	   (htim->Channel == HAL_TIM_ACTIVE_CHANNEL_2))
	{
    Treat_Int(INT_FROM_CH2);
  }
}

/* USER CODE END 4 */

void Error_Handler(void)
{
}

/************************ (C) COPYRIGHT STMicroelectronics *****END OF FILE****/
